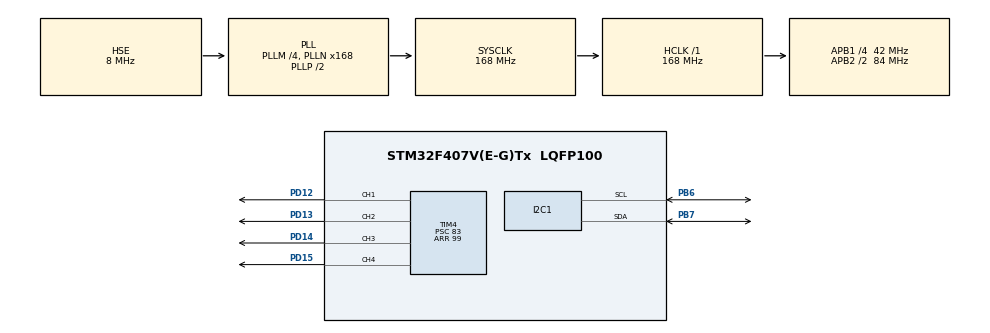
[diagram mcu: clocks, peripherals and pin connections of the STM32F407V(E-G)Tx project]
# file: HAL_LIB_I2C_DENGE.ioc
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I2C1.I2C_Mode=I2C_Fast
Mcu.Family=STM32F4
Mcu.Name=STM32F407V(E-G)Tx
Mcu.Package=LQFP100
NVIC.PriorityGroup=NVIC_PRIORITYGROUP_4
PB6.Mode=I2C
PB6.Signal=I2C1_SCL
PB7.Mode=I2C
PB7.Signal=I2C1_SDA
PD12.Signal=S_TIM4_CH1
PD13.Signal=S_TIM4_CH2
PD14.Signal=S_TIM4_CH3
PD15.Signal=S_TIM4_CH4
PH0-OSC_IN.Mode=HSE-External-Oscillator
PH0-OSC_IN.Signal=RCC_OSC_IN
PH1-OSC_OUT.Mode=HSE-External-Oscillator
PH1-OSC_OUT.Signal=RCC_OSC_OUT
ProjectManager.HeapSize=0x200
ProjectManager.StackSize=0x400
ProjectManager.TargetToolchain=STM32CubeIDE
RCC.48MHZClocksFreq_Value=84000000
RCC.AHBFreq_Value=168000000
RCC.APB1CLKDivider=RCC_HCLK_DIV4
RCC.APB1Freq_Value=42000000
RCC.APB1TimFreq_Value=84000000
RCC.APB2CLKDivider=RCC_HCLK_DIV2
RCC.APB2Freq_Value=84000000
RCC.APB2TimFreq_Value=168000000
RCC.CortexFreq_Value=168000000
RCC.HCLKFreq_Value=168000000
RCC.HSE_VALUE=8000000
RCC.HSI_VALUE=16000000
RCC.LSE_VALUE=32768
RCC.PLLM=4
RCC.PLLN=168
RCC.PLLSourceVirtual=RCC_PLLSOURCE_HSE
RCC.SYSCLKFreq_VALUE=168000000
RCC.SYSCLKSource=RCC_SYSCLKSOURCE_PLLCLK
RCC.VCOOutputFreq_Value=336000000
SH.S_TIM4_CH1.0=TIM4_CH1,PWM Generation1 CH1
SH.S_TIM4_CH2.0=TIM4_CH2,PWM Generation2 CH2
SH.S_TIM4_CH3.0=TIM4_CH3,PWM Generation3 CH3
SH.S_TIM4_CH4.0=TIM4_CH4,PWM Generation4 CH4
TIM4.Channel-PWM\ Generation1\ CH1=TIM_CHANNEL_1
TIM4.Channel-PWM\ Generation2\ CH2=TIM_CHANNEL_2
TIM4.Channel-PWM\ Generation3\ CH3=TIM_CHANNEL_3
TIM4.Channel-PWM\ Generation4\ CH4=TIM_CHANNEL_4
TIM4.Period=99
TIM4.Prescaler=83
board=custom

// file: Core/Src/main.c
/* USER CODE BEGIN Header */
/**
  ******************************************************************************
  * @file           : main.c
  * @brief          : Main program body
  ******************************************************************************
  * @attention
  *
  * <h2><center>&copy; Copyright (c) 2021 STMicroelectronics.
  * All rights reserved.</center></h2>
  *
  * This software component is licensed by ST under BSD 3-Clause license,
  * the "License"; You may not use this file except in compliance with the
  * License. You may obtain a copy of the License at:
  *                        opensource.org/licenses/BSD-3-Clause
  *
  ******************************************************************************
  */
/* USER CODE END Header */
#include "main.h"

/* USER CODE BEGIN Includes */
#define ADXL345_IIC_SLAVE 0xA6
/* USER CODE END Includes */

I2C_HandleTypeDef hi2c1;

TIM_HandleTypeDef htim4;

/* USER CODE BEGIN PV */
uint8_t i;
uint8_t datalar[6];
int16_t x,y,z;

/* USER CODE END PV */

void SystemClock_Config(void);
static void MX_GPIO_Init(void);
static void MX_I2C1_Init(void);
static void MX_TIM4_Init(void);
/* USER CODE BEGIN PFP */
void scani2c();

void ADXL_Yaz(uint8_t wregister, uint8_t value);
void ADXL_Oku(uint8_t rregister,uint8_t numberOfbytes);
void ADXL_Init();
/* USER CODE END PFP */

/* USER CODE BEGIN 0 */
void led12(int16_t h){
	if (h<-30){
	h = (h*-1);
	__HAL_TIM_SET_COMPARE(&htim4, TIM_CHANNEL_1, h);}
	else __HAL_TIM_SET_COMPARE(&htim4, TIM_CHANNEL_1,0);
}

void led13(int16_t u){
	if (u<-30){
	u = (u*-1);
	__HAL_TIM_SET_COMPARE(&htim4, TIM_CHANNEL_4, u);}
	else __HAL_TIM_SET_COMPARE(&htim4, TIM_CHANNEL_4,0);
}

void led14(int16_t k){
	if (k>30){
	__HAL_TIM_SET_COMPARE(&htim4, TIM_CHANNEL_3, k);}
	else __HAL_TIM_SET_COMPARE(&htim4, TIM_CHANNEL_3,0);
}

void led15(int16_t n){
	if (n>30){
	__HAL_TIM_SET_COMPARE(&htim4, TIM_CHANNEL_2, n);}
	else __HAL_TIM_SET_COMPARE(&htim4, TIM_CHANNEL_2,0);
}

/* USER CODE END 0 */

int main(void)
{

  /* MCU Configuration--------------------------------------------------------*/

  /* Reset of all peripherals, Initializes the Flash interface and the Systick. */
  HAL_Init();

  /* Configure the system clock */
  SystemClock_Config();

  /* Initialize all configured peripherals */
  MX_GPIO_Init();
  MX_I2C1_Init();
  MX_TIM4_Init();
  /* USER CODE BEGIN 2 */
  scani2c();

  ADXL_Init();

  HAL_TIM_PWM_Start(&htim4, TIM_CHANNEL_1); //ld12
  HAL_TIM_PWM_Start(&htim4, TIM_CHANNEL_2); //ld13
  HAL_TIM_PWM_Start(&htim4, TIM_CHANNEL_3); //ld14
  HAL_TIM_PWM_Start(&htim4, TIM_CHANNEL_4); //ld15

  /* USER CODE END 2 */

  /* Infinite loop */
  while (1)
  {

    /* USER CODE BEGIN 3 */

	  ADXL_Oku(0x32, 6);

	  x = (datalar[1] << 8) | datalar[0];
	  y = (datalar[3] << 8) | datalar[2];
	  z = (datalar[5] << 8) | datalar[4];

	 // dikLED(y); xler için if-if else bloğu
	  //yatLED(x); yler için if-if else bloğu yap
	  led12(x);
	  led13(y);
	  led14(x);
	  led15(y);
  }
  /* USER CODE END 3 */
}

void SystemClock_Config(void)
{
  RCC_OscInitTypeDef RCC_OscInitStruct = {0};
  RCC_ClkInitTypeDef RCC_ClkInitStruct = {0};

  /** Configure the main internal regulator output voltage
  */
  __HAL_RCC_PWR_CLK_ENABLE();
  __HAL_PWR_VOLTAGESCALING_CONFIG(PWR_REGULATOR_VOLTAGE_SCALE1);
  /** Initializes the RCC Oscillators according to the specified parameters
  * in the RCC_OscInitTypeDef structure.
  */
  RCC_OscInitStruct.OscillatorType = RCC_OSCILLATORTYPE_HSE;
  RCC_OscInitStruct.HSEState = RCC_HSE_ON;
  RCC_OscInitStruct.PLL.PLLState = RCC_PLL_ON;
  RCC_OscInitStruct.PLL.PLLSource = RCC_PLLSOURCE_HSE;
  RCC_OscInitStruct.PLL.PLLM = 4;
  RCC_OscInitStruct.PLL.PLLN = 168;
  RCC_OscInitStruct.PLL.PLLP = RCC_PLLP_DIV2;
  RCC_OscInitStruct.PLL.PLLQ = 4;
  if (HAL_RCC_OscConfig(&RCC_OscInitStruct) != HAL_OK)
  {
    Error_Handler();
  }
  /** Initializes the CPU, AHB and APB buses clocks
  */
  RCC_ClkInitStruct.ClockType = RCC_CLOCKTYPE_HCLK|RCC_CLOCKTYPE_SYSCLK
                              |RCC_CLOCKTYPE_PCLK1|RCC_CLOCKTYPE_PCLK2;
  RCC_ClkInitStruct.SYSCLKSource = RCC_SYSCLKSOURCE_PLLCLK;
  RCC_ClkInitStruct.AHBCLKDivider = RCC_SYSCLK_DIV1;
  RCC_ClkInitStruct.APB1CLKDivider = RCC_HCLK_DIV4;
  RCC_ClkInitStruct.APB2CLKDivider = RCC_HCLK_DIV2;

  if (HAL_RCC_ClockConfig(&RCC_ClkInitStruct, FLASH_LATENCY_5) != HAL_OK)
  {
    Error_Handler();
  }
}

static void MX_I2C1_Init(void)
{

  hi2c1.Instance = I2C1;
  hi2c1.Init.ClockSpeed = 400000;
  hi2c1.Init.DutyCycle = I2C_DUTYCYCLE_2;
  hi2c1.Init.OwnAddress1 = 0;
  hi2c1.Init.AddressingMode = I2C_ADDRESSINGMODE_7BIT;
  hi2c1.Init.DualAddressMode = I2C_DUALADDRESS_DISABLE;
  hi2c1.Init.OwnAddress2 = 0;
  hi2c1.Init.GeneralCallMode = I2C_GENERALCALL_DISABLE;
  hi2c1.Init.NoStretchMode = I2C_NOSTRETCH_DISABLE;
  if (HAL_I2C_Init(&hi2c1) != HAL_OK)
  {
    Error_Handler();
  }

}

static void MX_TIM4_Init(void)
{

  TIM_MasterConfigTypeDef sMasterConfig = {0};
  TIM_OC_InitTypeDef sConfigOC = {0};

  htim4.Instance = TIM4;
  htim4.Init.Prescaler = 83;
  htim4.Init.CounterMode = TIM_COUNTERMODE_UP;
  htim4.Init.Period = 99;
  htim4.Init.ClockDivision = TIM_CLOCKDIVISION_DIV1;
  htim4.Init.AutoReloadPreload = TIM_AUTORELOAD_PRELOAD_DISABLE;
  if (HAL_TIM_PWM_Init(&htim4) != HAL_OK)
  {
    Error_Handler();
  }
  sMasterConfig.MasterOutputTrigger = TIM_TRGO_RESET;
  sMasterConfig.MasterSlaveMode = TIM_MASTERSLAVEMODE_DISABLE;
  if (HAL_TIMEx_MasterConfigSynchronization(&htim4, &sMasterConfig) != HAL_OK)
  {
    Error_Handler();
  }
  sConfigOC.OCMode = TIM_OCMODE_PWM1;
  sConfigOC.Pulse = 0;
  sConfigOC.OCPolarity = TIM_OCPOLARITY_HIGH;
  sConfigOC.OCFastMode = TIM_OCFAST_DISABLE;
  if (HAL_TIM_PWM_ConfigChannel(&htim4, &sConfigOC, TIM_CHANNEL_1) != HAL_OK)
  {
    Error_Handler();
  }
  if (HAL_TIM_PWM_ConfigChannel(&htim4, &sConfigOC, TIM_CHANNEL_2) != HAL_OK)
  {
    Error_Handler();
  }
  if (HAL_TIM_PWM_ConfigChannel(&htim4, &sConfigOC, TIM_CHANNEL_3) != HAL_OK)
  {
    Error_Handler();
  }
  if (HAL_TIM_PWM_ConfigChannel(&htim4, &sConfigOC, TIM_CHANNEL_4) != HAL_OK)
  {
    Error_Handler();
  }
  HAL_TIM_MspPostInit(&htim4);

}

static void MX_GPIO_Init(void)
{

  /* GPIO Ports Clock Enable */
  __HAL_RCC_GPIOH_CLK_ENABLE();
  __HAL_RCC_GPIOD_CLK_ENABLE();
  __HAL_RCC_GPIOB_CLK_ENABLE();

}

/* USER CODE BEGIN 4 */
void scani2c(){
	for(i=0; i<256;i++){
		if(HAL_I2C_IsDeviceReady(&hi2c1, i, 1, 10)==HAL_OK){
			break;
		}
	}
}
void ADXL_Yaz(uint8_t wregister, uint8_t value){
	uint8_t veri[2] = {0} ;
	veri[0] = wregister;
	veri[1] = value;
	HAL_I2C_Master_Transmit(&hi2c1, ADXL345_IIC_SLAVE, veri, 2, 100);

}

void ADXL_Oku(uint8_t rregister,uint8_t numberOfbytes){
	HAL_I2C_Mem_Read(&hi2c1, ADXL345_IIC_SLAVE, rregister, 1, datalar, numberOfbytes, 100);
}

void ADXL_Init(){
	ADXL_Oku(0x00,1);

	ADXL_Yaz(0x2D, 0);

	ADXL_Yaz(0x2D, 0x08);
	ADXL_Yaz(0x31, 0x01);
}
/* USER CODE END 4 */

void Error_Handler(void)
{
  __disable_irq();
  while (1)
  {
  }
}

/************************ (C) COPYRIGHT STMicroelectronics *****END OF FILE****/
